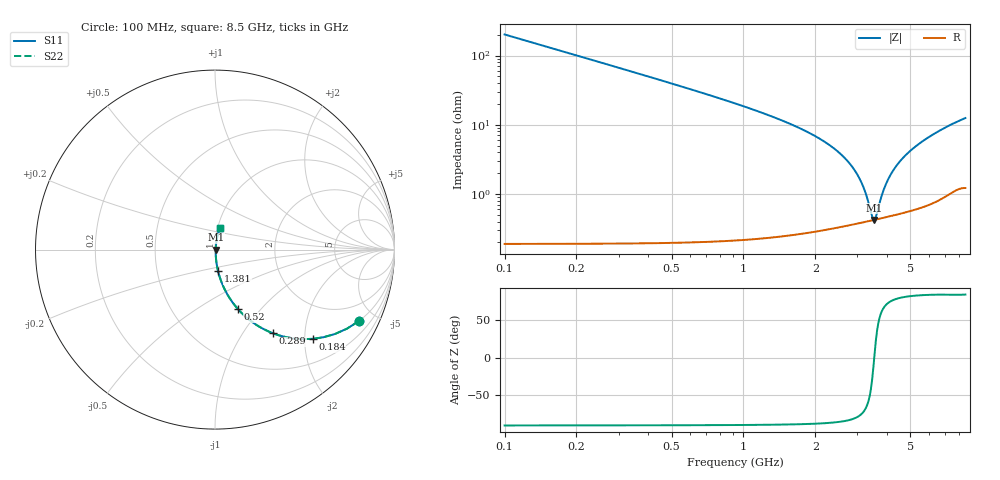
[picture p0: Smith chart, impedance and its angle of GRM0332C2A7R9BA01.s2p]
!Murata Part Number: GRM0332C2A7R9BA01
!These Parameters are Measured in Series Mode Connection
!Data Generated on Mar 30, 2021
!  o--ll--o
!Port1  Port2
!  o------o
!Operation Temp=25[degC], DC Bias Voltage=0[V]
!Freq. Start=100[MHz] Stop=9[GHz] 401[Steps]
# Hz S RI R 50
!Freq.(Hz) S11(Real) S11(Imag) S21(Real) S21(Imag) S12(Real) S12(Imag) S22(Real) S22(Imag)
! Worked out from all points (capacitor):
!   401 points, 100 MHz to 8.5 GHz, reference 50 ohm
!   read as one part in series: C = 7.9 pF near 142 MHz
!   lowest |Z| = 423 mohm at 3.523 GHz (marker M1)
!   series resonance near 3.529 GHz, so ESL is about 260 pH
!   S11 on the Smith chart (normalised r, x): 100 MHz: 1.00, -4.03; 184 MHz: 1.00, -2.18; 289 MHz: 1.00, -1.38; 520 MHz: 1.00, -0.76; 1.381 GHz: 1.00, -0.25; 8.5 GHz: 1.02, +0.25
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1e8  0.8018 -0.3981  0.1982 0.3981  0.1982 0.3981  0.8018 -0.3981
1.84e8  0.5438 -0.4972  0.4562 0.4972  0.4562 0.4972  0.5438 -0.4972
2.89e8  0.3245 -0.4668  0.6755 0.4668  0.6755 0.4668  0.3245 -0.4668
3.94e8  0.2041 -0.4011  0.7959 0.4011  0.7959 0.4011  0.2041 -0.4011
5.2e8  0.1269 -0.3302  0.8731 0.3302  0.8731 0.3302  0.1269 -0.3302
8.77e8  0.0462 -0.2051  0.9538 0.2051  0.9538 0.2051  0.0462 -0.2051
1.381e9  0.0173 -0.1211  0.9827 0.1211  0.9827 0.1211  0.0173 -0.1211
1.507e9  0.0142 -0.1075  0.9858 0.1075  0.9858 0.1075  0.0142 -0.1075
2.41e9  0.00517 -0.0443  0.9948 0.0443  0.9948 0.0443  0.00517 -0.0443
2.914e9  0.00413 -0.0219  0.9959 0.0219  0.9959 0.0219  0.00413 -0.0219
3.166e9  0.00403 -0.0124  0.996 0.0124  0.996 0.0124  0.00403 -0.0124
3.292e9  0.00406 -0.00791  0.9959 0.00791  0.9959 0.00791  0.00406 -0.00791
3.46e9  0.00415 -0.00224  0.9958 0.00224  0.9958 0.00224  0.00415 -0.00224
3.523e9  0.00421 -0.00018  0.9958 0.00018  0.9958 0.00018  0.00421 -0.00018
3.586e9  0.00427 0.00184  0.9957 -0.00184  0.9957 -0.00184  0.00427 0.00184
3.775e9  0.0045 0.00773  0.9955 -0.00773  0.9955 -0.00773  0.0045 0.00773
3.922e9  0.00472 0.0121  0.9953 -0.0121  0.9953 -0.0121  0.00472 0.0121
4.3e9  0.00546 0.0229  0.9945 -0.0229  0.9945 -0.0229  0.00546 0.0229
4.888e9  0.00701 0.0384  0.993 -0.0384  0.993 -0.0384  0.00701 0.0384
5.707e9  0.00996 0.0585  0.99 -0.0585  0.99 -0.0585  0.00996 0.0585
7.114e9  0.0178 0.0909  0.9822 -0.0909  0.9822 -0.0909  0.0178 0.0909
8.5e9  0.0268 0.1197  0.9732 -0.1197  0.9732 -0.1197  0.0268 0.1197
